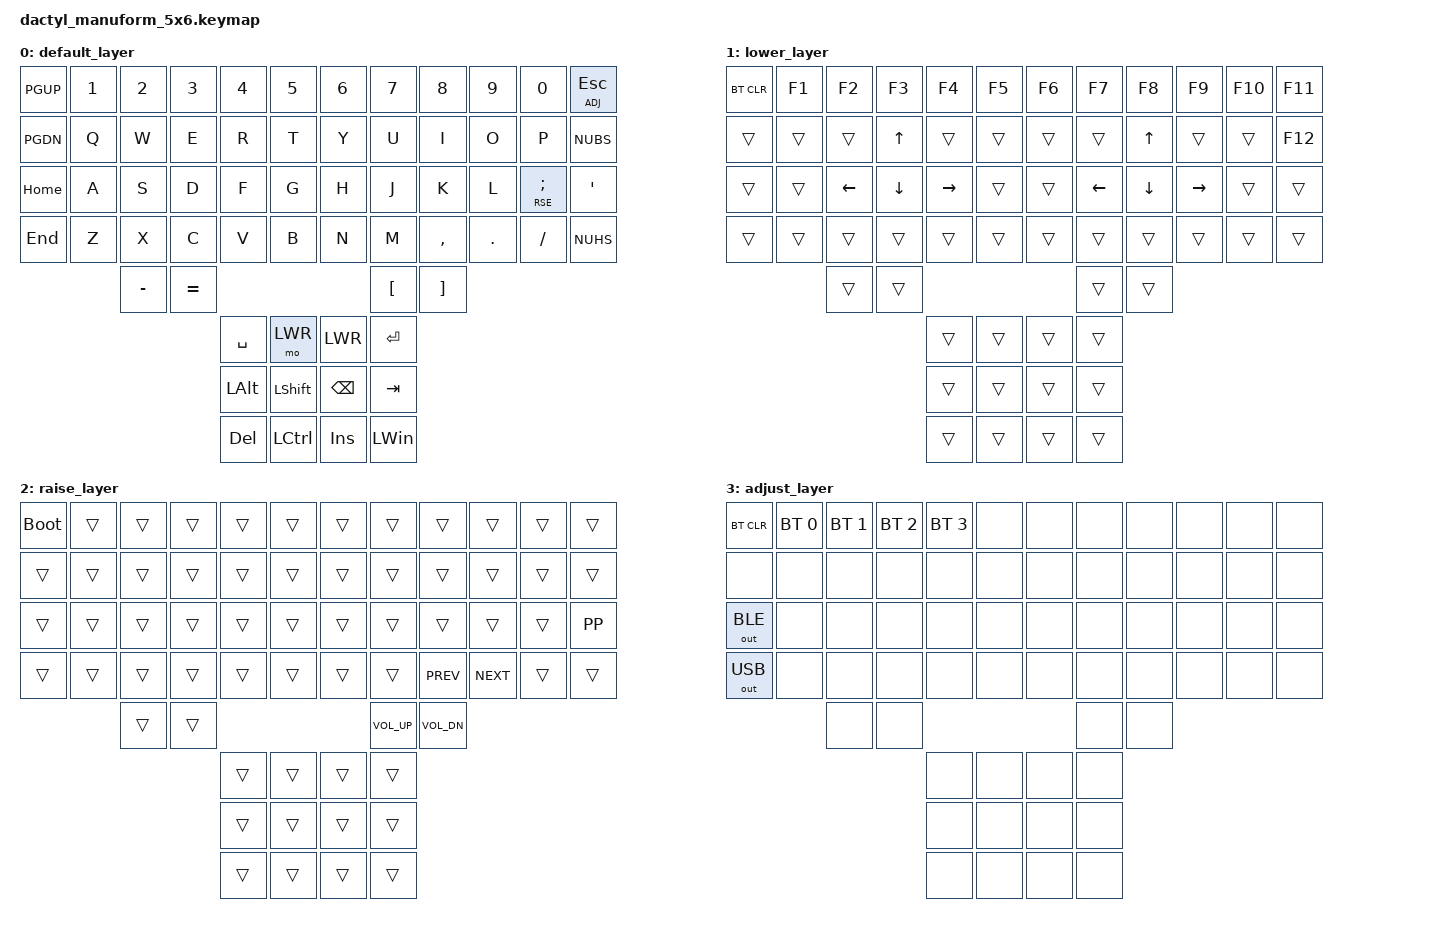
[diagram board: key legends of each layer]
#include <behaviors.dtsi>
#include <dt-bindings/zmk/keys.h>
#include <dt-bindings/zmk/bt.h>
#include <dt-bindings/zmk/outputs.h>

#define DEFAULT 0
#define LWR 1
#define RSE 2
#define ADJ 3

/ {
    keymap {
        compatible = "zmk,keymap";

        default_layer {
            bindings = <
                &kp PGUP  &kp N1 &kp N2    &kp N3    &kp N4    &kp N5            &kp N6   &kp N7   &kp N8    &kp N9  &kp N0       &mt ADJ ESC
                &kp PGDN  &kp Q  &kp W     &kp E     &kp R     &kp T             &kp Y    &kp U    &kp I     &kp O   &kp P        &kp NUBS
                &kp HOME  &kp A  &kp S     &kp D     &kp F     &kp G             &kp H    &kp J    &kp K     &kp L   &mt RSE SEMI &kp APOS
                &kp END   &kp Z  &kp X     &kp C     &kp V     &kp B             &kp N    &kp M    &kp COMMA &kp DOT &kp FSLH     &kp NUHS
                                 &kp MINUS &kp EQUAL                                      &kp LBKT &kp RBKT
                                                     &kp SPACE &mo LWR           &kp LWR  &kp RET
                                                     &kp LALT  &kp LSHIFT        &kp BSPC &kp TAB
                                                     &kp DEL   &kp LCTRL         &kp INS  &kp LWIN
            >;
        };

        lower_layer {
            bindings = <
                &bt BT_CLR  &kp F1 &kp F2   &kp F3   &kp F4    &kp F5                &kp F6 &kp F7   &kp F8   &kp F9    &kp F10 &kp F11
                &trans      &trans &trans   &kp UP   &trans    &trans                &trans &trans   &kp UP   &trans    &trans  &kp F12
                &trans      &trans &kp LEFT &kp DOWN &kp RIGHT &trans                &trans &kp LEFT &kp DOWN &kp RIGHT &trans  &trans
                &trans      &trans &trans   &trans   &trans    &trans                &trans &trans   &trans   &trans    &trans  &trans
                                   &trans   &trans                                                   &trans   &trans
                                                 &trans    &trans                &trans &trans
                                                 &trans    &trans                &trans &trans
                                                 &trans    &trans                &trans &trans
            >;
        };

        raise_layer {
            bindings = <
                &bootloader &trans &trans &trans &trans &trans                &trans &trans &trans       &trans       &trans &trans
                &trans      &trans &trans &trans &trans &trans                &trans &trans &trans       &trans       &trans &trans
                &trans      &trans &trans &trans &trans &trans                &trans &trans &trans       &trans       &trans &kp K_PP
                &trans      &trans &trans &trans &trans &trans                &trans &trans &kp K_PREV   &kp K_NEXT   &trans &trans
                                   &trans &trans                                            &kp K_VOL_UP &kp K_VOL_DN
                                                 &trans &trans                &trans &trans
                                                 &trans &trans                &trans &trans
                                                 &trans &trans                &trans &trans
            >;
        };

        adjust_layer {
            bindings = <
                &bt BT_CLR   &bt BT_SEL 0 &bt BT_SEL 1 &bt BT_SEL 2 &bt BT_SEL 3  &none             &none &none &none &none &none &none
                &none        &none        &none        &none        &none         &none             &none &none &none &none &none &none
                &out OUT_BLE &none        &none        &none        &none         &none             &none &none &none &none &none &none
                &out OUT_USB &none        &none        &none        &none         &none             &none &none &none &none &none &none
                                          &none        &none                                                    &none &none
                                                                    &none         &none             &none &none
                                                                    &none         &none             &none &none
                                                                    &none         &none             &none &none
            >;
        };
    };
};
